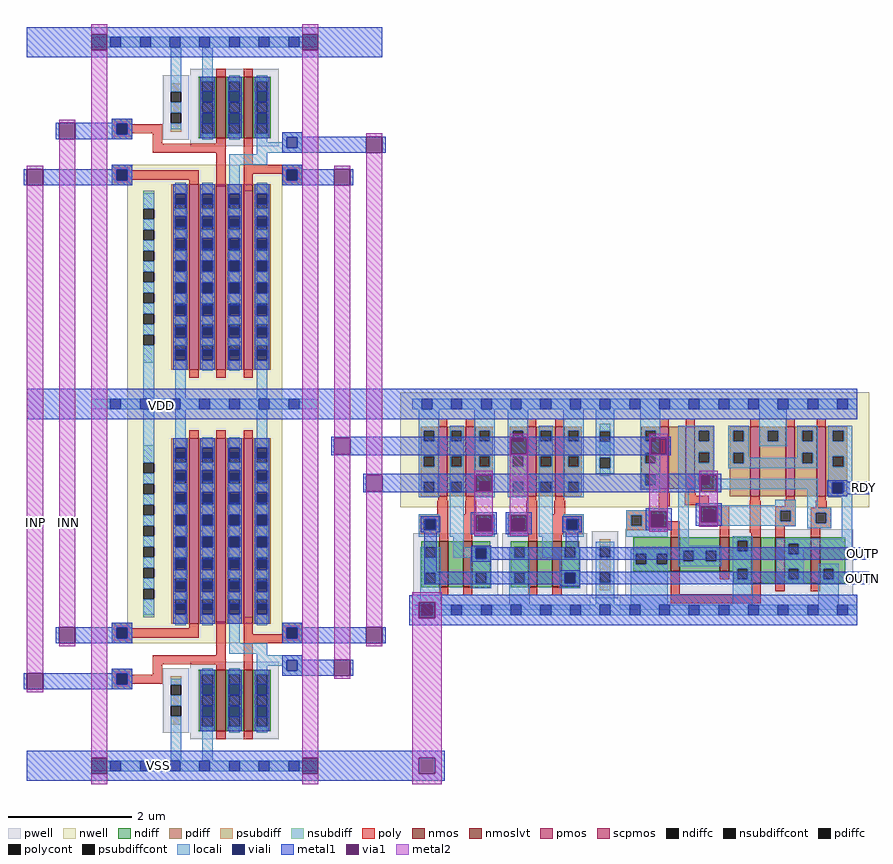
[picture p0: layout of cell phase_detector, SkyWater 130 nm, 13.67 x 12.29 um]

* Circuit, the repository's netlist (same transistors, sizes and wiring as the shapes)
* NGSPICE file created from phase_detector.ext - technology: sky130A

.subckt sky130_fd_sc_hs__nand2_1 A B VGND VNB VPB VPWR Y
X0 a_117_74# B VGND VNB sky130_fd_pr__nfet_01v8_lvt ad=0.0888 pd=0.98 as=0.2109 ps=2.05 w=0.74 l=0.15
X1 VPWR A Y VPB sky130_fd_pr__pfet_01v8 ad=0.3192 pd=2.81 as=0.168 ps=1.42 w=1.12 l=0.15
X2 Y A a_117_74# VNB sky130_fd_pr__nfet_01v8_lvt ad=0.2109 pd=2.05 as=0.0888 ps=0.98 w=0.74 l=0.15
X3 Y B VPWR VPB sky130_fd_pr__pfet_01v8 ad=0.168 pd=1.42 as=0.3192 ps=2.81 w=1.12 l=0.15
.ends

.subckt sky130_fd_sc_hs__xor2_1 A B VGND VNB VPB VPWR X
X0 X B a_455_87# VNB sky130_fd_pr__nfet_01v8_lvt ad=0.1554 pd=1.16 as=0.0888 ps=0.98 w=0.74 l=0.15
X1 X a_194_125# a_355_368# VPB sky130_fd_pr__pfet_01v8 ad=0.3864 pd=2.93 as=0.196 ps=1.47 w=1.12 l=0.15
X2 a_194_125# B a_158_392# VPB sky130_fd_pr__pfet_01v8 ad=0.295 pd=2.59 as=0.135 ps=1.27 w=1 l=0.15
X3 VPWR A a_355_368# VPB sky130_fd_pr__pfet_01v8 ad=0.2352 pd=1.54 as=0.3752 ps=2.91 w=1.12 l=0.15
X4 a_158_392# A VPWR VPB sky130_fd_pr__pfet_01v8 ad=0.135 pd=1.27 as=0.295 ps=2.59 w=1 l=0.15
X5 a_355_368# B VPWR VPB sky130_fd_pr__pfet_01v8 ad=0.196 pd=1.47 as=0.2352 ps=1.54 w=1.12 l=0.15
X6 a_194_125# A VGND VNB sky130_fd_pr__nfet_01v8_lvt ad=0.17738 pd=1.195 as=0.33275 ps=2.31 w=0.55 l=0.15
X7 a_455_87# A VGND VNB sky130_fd_pr__nfet_01v8_lvt ad=0.0888 pd=0.98 as=0.12607 ps=1.1 w=0.74 l=0.15
X8 VGND B a_194_125# VNB sky130_fd_pr__nfet_01v8_lvt ad=0.12607 pd=1.1 as=0.17738 ps=1.195 w=0.55 l=0.15
X9 VGND a_194_125# X VNB sky130_fd_pr__nfet_01v8_lvt ad=0.2997 pd=2.29 as=0.1554 ps=1.16 w=0.74 l=0.15
.ends

.subckt pd_out A B RDY OUTP OUTN VDD VSS
Xx1 B OUTN VSS VSS VDD VDD OUTP sky130_fd_sc_hs__nand2_1
Xx2 OUTP A VSS VSS VDD VDD OUTN sky130_fd_sc_hs__nand2_1
Xx3 A B VSS VSS VDD VDD RDY sky130_fd_sc_hs__xor2_1
.ends

.subckt sky130_fd_pr__pfet_01v8_5EUKDE a_n73_n300# w_n109_n362# a_15_n300# a_n15_n326#
X0 a_15_n300# a_n15_n326# a_n73_n300# w_n109_n362# sky130_fd_pr__pfet_01v8 ad=0.87 pd=6.58 as=0.87 ps=6.58 w=3 l=0.15
.ends

.subckt sky130_fd_pr__nfet_01v8_QQ7V57 a_n73_n100# a_15_n100# a_n15_n126# VSUBS
X0 a_15_n100# a_n15_n126# a_n73_n100# VSUBS sky130_fd_pr__nfet_01v8 ad=0.29 pd=2.58 as=0.29 ps=2.58 w=1 l=0.15
.ends

.subckt pd_in_half OUT VDD VSS INB IN OUTB
Xsky130_fd_pr__pfet_01v8_5EUKDE_0 OUT VDD VDD OUTB sky130_fd_pr__pfet_01v8_5EUKDE
Xsky130_fd_pr__pfet_01v8_5EUKDE_1 sky130_fd_pr__pfet_01v8_5EUKDE_2/a_15_n300# VDD
+ OUT IN sky130_fd_pr__pfet_01v8_5EUKDE
Xsky130_fd_pr__pfet_01v8_5EUKDE_2 VDD VDD sky130_fd_pr__pfet_01v8_5EUKDE_2/a_15_n300#
+ INB sky130_fd_pr__pfet_01v8_5EUKDE
Xsky130_fd_pr__nfet_01v8_QQ7V57_0 VSS sky130_fd_pr__nfet_01v8_QQ7V57_0/a_15_n100#
+ IN VSS sky130_fd_pr__nfet_01v8_QQ7V57
Xsky130_fd_pr__nfet_01v8_QQ7V57_1 sky130_fd_pr__nfet_01v8_QQ7V57_0/a_15_n100# OUT
+ OUTB VSS sky130_fd_pr__nfet_01v8_QQ7V57
.ends

.subckt pd_in INP INN VDD A B VSS
Xpd_in_half_0 B VDD VSS INP INN A pd_in_half
Xpd_in_half_1 A VDD VSS INN INP B pd_in_half
.ends

.subckt phase_detector VDD VSS INP INN RDY OUTP OUTN
Xpd_out_0 pd_in_0/A pd_in_0/B RDY OUTP OUTN VDD VSS pd_out
Xpd_in_0 INP INN VDD pd_in_0/A pd_in_0/B VSS pd_in
.ends

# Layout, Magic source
magic
tech sky130A
magscale 1 2
<< metal1 >>
rect -18 1178 2668 1276
rect 966 1117 1260 1121
rect 966 1065 976 1117
rect 1028 1065 1260 1117
rect 966 1061 1260 1065
rect 1070 997 1264 1001
rect 1070 945 1080 997
rect 1132 945 1264 997
rect 1070 941 1264 945
rect 2623 935 2706 975
rect 1471 723 2706 763
rect 1759 644 2706 684
rect 1218 586 1334 608
rect 1218 534 1250 586
rect 1302 534 1334 586
rect 1218 512 1334 534
rect -18 83 1334 106
rect -18 31 1250 83
rect 1302 31 1334 83
rect -18 8 1334 31
<< via1 >>
rect 976 1065 1028 1117
rect 1080 945 1132 997
rect 1250 534 1302 586
rect 1250 31 1302 83
<< metal2 >>
rect -18 356 34 1935
rect 86 505 138 2084
rect 976 1117 1028 1131
rect 976 1051 1028 1065
rect 1080 997 1132 1011
rect 1080 931 1132 945
rect 1228 586 1324 618
rect 1228 534 1250 586
rect 1302 534 1324 586
rect 1228 83 1324 534
rect 1228 31 1250 83
rect 1302 31 1324 83
rect 1228 -2 1324 31
use pd_in  pd_in_0
transform 1 0 590 0 1 1212
box -618 -1214 552 1244
use pd_out  pd_out_0
transform 1 0 1190 0 1 610
box 0 -98 1516 666
<< labels >>
flabel metal1 s 401 1208 431 1238 0 FreeSans 500 0 0 0 VDD
port 1 nsew
flabel metal1 s 392 43 422 73 0 FreeSans 500 0 0 0 VSS
port 2 nsew
flabel metal2 s -5 829 25 859 0 FreeSans 500 0 0 0 INP
port 3 nsew
flabel metal2 s 100 829 130 859 0 FreeSans 500 0 0 0 INN
port 4 nsew
flabel metal1 s 2672 941 2702 971 0 FreeSans 500 0 0 0 RDY
port 5 nsew
flabel metal1 s 2669 730 2699 760 0 FreeSans 500 0 0 0 OUTP
port 6 nsew
flabel metal1 s 2670 648 2700 678 0 FreeSans 500 0 0 0 OUTN
port 7 nsew
<< end >>

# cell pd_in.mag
magic
tech sky130A
magscale 1 2
<< metal1 >>
rect -608 1211 542 1234
rect -608 1159 -400 1211
rect -348 1159 282 1211
rect 334 1159 542 1211
rect -608 1136 542 1159
rect -514 872 -504 924
rect -452 872 -317 924
rect 283 828 490 880
rect 542 828 552 880
rect -618 723 -608 775
rect -556 723 -317 775
rect 283 723 386 775
rect 438 723 448 775
rect -608 -34 542 64
rect -514 -759 -504 -707
rect -452 -759 -317 -707
rect 283 -759 490 -707
rect 542 -759 552 -707
rect -618 -908 -608 -856
rect -556 -908 -318 -856
rect 283 -864 386 -812
rect 438 -864 448 -812
rect -608 -1129 542 -1106
rect -608 -1181 -400 -1129
rect -348 -1181 282 -1129
rect 334 -1181 542 -1129
rect -608 -1204 542 -1181
<< via1 >>
rect -400 1159 -348 1211
rect 282 1159 334 1211
rect -504 872 -452 924
rect 490 828 542 880
rect -608 723 -556 775
rect 386 723 438 775
rect -504 -759 -452 -707
rect 490 -759 542 -707
rect -608 -908 -556 -856
rect 386 -864 438 -812
rect -400 -1181 -348 -1129
rect 282 -1181 334 -1129
<< metal2 >>
rect -400 1211 -348 1244
rect -504 924 -452 934
rect -608 775 -556 785
rect -608 -856 -556 723
rect -504 -707 -452 872
rect -504 -769 -452 -759
rect -608 -918 -556 -908
rect -400 -1129 -348 1159
rect -400 -1214 -348 -1181
rect 282 1211 334 1244
rect 282 -1129 334 1159
rect 490 880 542 890
rect 386 775 438 785
rect 386 -812 438 723
rect 490 -707 542 828
rect 490 -769 542 -759
rect 386 -874 438 -864
rect 282 -1214 334 -1181
use pd_in_half  pd_in_half_0
transform 1 0 -496 0 -1 793
box 96 -441 830 827
use pd_in_half  pd_in_half_1
transform 1 0 -496 0 1 -763
box 96 -441 830 827
<< labels >>
flabel metal2 s -596 -434 -566 -404 0 FreeSans 500 0 0 0 INP
port 1 nsew
flabel metal2 s -492 -509 -462 -479 0 FreeSans 500 0 0 0 INN
port 2 nsew
flabel metal1 s -2 0 28 30 0 FreeSans 500 0 0 0 VDD
port 3 nsew
flabel metal1 s -30 -1169 0 -1139 0 FreeSans 500 0 0 0 VSS
port 4 nsew
flabel metal2 s 395 409 425 439 0 FreeSans 500 0 0 0 A
port 5 nsew
flabel metal2 s 498 410 528 440 0 FreeSans 500 0 0 0 B
port 6 nsew
<< end >>

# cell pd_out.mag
magic
tech sky130A
magscale 1 2
<< locali >>
rect 1393 362 1433 365
rect 1393 328 1396 362
rect 1430 328 1433 362
rect 1393 325 1433 328
rect 967 277 1027 290
rect 805 261 865 274
rect 239 248 299 261
rect 77 245 117 248
rect 77 211 80 245
rect 114 211 117 245
rect 77 208 117 211
rect 239 214 252 248
rect 286 214 299 248
rect 239 201 299 214
rect 353 248 413 261
rect 353 214 366 248
rect 400 214 413 248
rect 353 201 413 214
rect 535 245 575 248
rect 535 211 538 245
rect 572 211 575 245
rect 805 227 818 261
rect 852 227 865 261
rect 967 243 980 277
rect 1014 243 1027 277
rect 967 230 1027 243
rect 805 214 865 227
rect 535 208 575 211
rect 241 150 281 153
rect 241 116 244 150
rect 278 116 281 150
rect 241 113 281 116
rect 529 71 569 74
rect 529 37 532 71
rect 566 37 569 71
rect 529 34 569 37
<< viali >>
rect 1396 328 1430 362
rect 80 211 114 245
rect 252 214 286 248
rect 366 214 400 248
rect 538 211 572 245
rect 818 227 852 261
rect 980 243 1014 277
rect 244 116 278 150
rect 532 37 566 71
<< metal1 >>
rect 38 568 1478 666
rect 0 507 875 511
rect 0 455 357 507
rect 409 455 809 507
rect 861 455 875 507
rect 0 451 875 455
rect 0 387 1037 391
rect 0 335 243 387
rect 295 335 971 387
rect 1023 335 1037 387
rect 0 331 1037 335
rect 1381 365 1445 371
rect 1381 362 1516 365
rect 1381 328 1396 362
rect 1430 328 1516 362
rect 1381 325 1516 328
rect 1381 319 1445 325
rect 955 286 1039 296
rect 793 270 877 280
rect 227 257 311 267
rect 65 245 129 254
rect 65 211 80 245
rect 114 211 129 245
rect 65 202 129 211
rect 227 205 243 257
rect 295 205 311 257
rect 77 74 117 202
rect 227 195 311 205
rect 341 257 425 267
rect 341 205 357 257
rect 409 205 425 257
rect 341 195 425 205
rect 523 245 587 254
rect 523 211 538 245
rect 572 211 587 245
rect 523 202 587 211
rect 793 218 809 270
rect 861 218 877 270
rect 955 234 971 286
rect 1023 234 1039 286
rect 955 224 1039 234
rect 793 208 877 218
rect 229 153 293 159
rect 535 153 575 202
rect 229 150 1516 153
rect 229 116 244 150
rect 278 116 1516 150
rect 229 113 1516 116
rect 229 107 293 113
rect 517 74 581 80
rect 77 71 1516 74
rect 77 37 532 71
rect 566 37 1516 71
rect 77 34 1516 37
rect 517 28 581 34
rect 38 -98 1478 0
<< via1 >>
rect 357 455 409 507
rect 809 455 861 507
rect 243 335 295 387
rect 971 335 1023 387
rect 243 248 295 257
rect 243 214 252 248
rect 252 214 286 248
rect 286 214 295 248
rect 243 205 295 214
rect 357 248 409 257
rect 357 214 366 248
rect 366 214 400 248
rect 400 214 409 248
rect 357 205 409 214
rect 809 261 861 270
rect 809 227 818 261
rect 818 227 852 261
rect 852 227 861 261
rect 809 218 861 227
rect 971 277 1023 286
rect 971 243 980 277
rect 980 243 1014 277
rect 1014 243 1023 277
rect 971 234 1023 243
<< metal2 >>
rect 353 507 413 521
rect 353 455 357 507
rect 409 455 413 507
rect 239 387 299 401
rect 239 335 243 387
rect 295 335 299 387
rect 239 257 299 335
rect 239 205 243 257
rect 295 205 299 257
rect 239 191 299 205
rect 353 257 413 455
rect 353 205 357 257
rect 409 205 413 257
rect 353 191 413 205
rect 805 507 865 521
rect 805 455 809 507
rect 861 455 865 507
rect 805 270 865 455
rect 805 218 809 270
rect 861 218 865 270
rect 967 387 1027 401
rect 967 335 971 387
rect 1023 335 1027 387
rect 967 286 1027 335
rect 967 234 971 286
rect 1023 234 1027 286
rect 967 220 1027 234
rect 805 204 865 218
use sky130_fd_sc_hs__tapvpwrvgnd_1  sky130_fd_sc_hs__tapvpwrvgnd_1_0
transform 1 0 614 0 1 -49
box -38 -49 134 715
use sky130_fd_sc_hs__nand2_1  x1
transform 1 0 38 0 1 -49
box -38 -49 326 715
use sky130_fd_sc_hs__nand2_1  x2
transform 1 0 326 0 1 -49
box -38 -49 326 715
use sky130_fd_sc_hs__xor2_1  x3
transform 1 0 710 0 1 -49
box -38 -49 806 715
<< labels >>
flabel metal1 s 0 451 30 511 0 FreeSans 500 0 0 0 A
port 1 nsew
flabel metal1 s 0 331 30 391 0 FreeSans 500 0 0 0 B
port 2 nsew
flabel metal1 s 91 568 189 666 0 FreeSans 500 0 0 0 VDD
port 3 nsew
flabel metal1 s 95 -98 193 0 0 FreeSans 500 0 0 0 VSS
port 4 nsew
flabel metal1 s 1496 325 1516 365 0 FreeSans 500 0 0 0 RDY
port 5 nsew
flabel metal1 s 1476 113 1516 153 0 FreeSans 500 0 0 0 OUTP
port 6 nsew
flabel metal1 s 1476 34 1516 74 0 FreeSans 500 0 0 0 OUTN
port 7 nsew
<< end >>

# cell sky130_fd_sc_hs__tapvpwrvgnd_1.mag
magic
tech sky130A
magscale 1 2
<< nwell >>
rect -38 332 134 704
<< pwell >>
rect 5 38 91 255
<< psubdiff >>
rect 31 205 65 229
rect 31 122 65 171
rect 31 64 65 88
<< nsubdiff >>
rect 31 578 65 602
rect 31 492 65 544
rect 31 434 65 458
<< psubdiffcont >>
rect 31 171 65 205
rect 31 88 65 122
<< nsubdiffcont >>
rect 31 544 65 578
rect 31 458 65 492
<< locali >>
rect 0 649 31 683
rect 65 649 96 683
rect 18 578 78 649
rect 18 544 31 578
rect 65 544 78 578
rect 18 492 78 544
rect 18 458 31 492
rect 65 458 78 492
rect 18 441 78 458
rect 18 205 78 221
rect 18 171 31 205
rect 65 171 78 205
rect 18 122 78 171
rect 18 88 31 122
rect 65 88 78 122
rect 18 17 78 88
rect 0 -17 31 17
rect 65 -17 96 17
<< viali >>
rect 31 649 65 683
rect 31 -17 65 17
<< metal1 >>
rect 0 683 96 715
rect 0 649 31 683
rect 65 649 96 683
rect 0 617 96 649
rect 0 17 96 49
rect 0 -17 31 17
rect 65 -17 96 17
rect 0 -49 96 -17
<< labels >>
rlabel comment s 0 0 0 0 4 tapvpwrvgnd_1
flabel metal1 s 0 617 96 666 0 FreeSans 200 0 0 0 VPWR
port 1 nsew
flabel metal1 s 0 0 96 49 0 FreeSans 200 0 0 0 VGND
port 2 nsew
<< properties >>
string FIXED_BBOX 0 0 96 666
<< end >>

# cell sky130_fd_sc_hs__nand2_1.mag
magic
tech sky130A
magscale 1 2
<< nwell >>
rect -38 332 326 704
<< pwell >>
rect 4 49 278 248
rect 0 0 288 49
<< scpmos >>
rect 84 368 114 592
rect 174 368 204 592
<< nmoslvt >>
rect 87 74 117 222
rect 165 74 195 222
<< ndiff >>
rect 30 202 87 222
rect 30 168 42 202
rect 76 168 87 202
rect 30 120 87 168
rect 30 86 42 120
rect 76 86 87 120
rect 30 74 87 86
rect 117 74 165 222
rect 195 202 252 222
rect 195 168 206 202
rect 240 168 252 202
rect 195 120 252 168
rect 195 86 206 120
rect 240 86 252 120
rect 195 74 252 86
<< pdiff >>
rect 27 580 84 592
rect 27 546 37 580
rect 71 546 84 580
rect 27 497 84 546
rect 27 463 37 497
rect 71 463 84 497
rect 27 414 84 463
rect 27 380 37 414
rect 71 380 84 414
rect 27 368 84 380
rect 114 580 174 592
rect 114 546 127 580
rect 161 546 174 580
rect 114 497 174 546
rect 114 463 127 497
rect 161 463 174 497
rect 114 414 174 463
rect 114 380 127 414
rect 161 380 174 414
rect 114 368 174 380
rect 204 580 261 592
rect 204 546 217 580
rect 251 546 261 580
rect 204 497 261 546
rect 204 463 217 497
rect 251 463 261 497
rect 204 414 261 463
rect 204 380 217 414
rect 251 380 261 414
rect 204 368 261 380
<< ndiffc >>
rect 42 168 76 202
rect 42 86 76 120
rect 206 168 240 202
rect 206 86 240 120
<< pdiffc >>
rect 37 546 71 580
rect 37 463 71 497
rect 37 380 71 414
rect 127 546 161 580
rect 127 463 161 497
rect 127 380 161 414
rect 217 546 251 580
rect 217 463 251 497
rect 217 380 251 414
<< poly >>
rect 84 592 114 618
rect 174 592 204 618
rect 84 353 114 368
rect 174 353 204 368
rect 81 310 117 353
rect 171 310 207 353
rect 21 294 117 310
rect 21 260 37 294
rect 71 260 117 294
rect 21 244 117 260
rect 87 222 117 244
rect 165 294 267 310
rect 165 260 217 294
rect 251 260 267 294
rect 165 244 267 260
rect 165 222 195 244
rect 87 48 117 74
rect 165 48 195 74
<< polycont >>
rect 37 260 71 294
rect 217 260 251 294
<< locali >>
rect 0 649 31 683
rect 65 649 127 683
rect 161 649 223 683
rect 257 649 288 683
rect 21 580 87 649
rect 21 546 37 580
rect 71 546 87 580
rect 21 497 87 546
rect 21 463 37 497
rect 71 463 87 497
rect 21 414 87 463
rect 21 380 37 414
rect 71 380 87 414
rect 21 364 87 380
rect 121 580 167 596
rect 121 546 127 580
rect 161 546 167 580
rect 121 497 167 546
rect 121 463 127 497
rect 161 463 167 497
rect 121 414 167 463
rect 121 380 127 414
rect 161 380 167 414
rect 21 294 87 310
rect 21 260 37 294
rect 71 260 87 294
rect 21 236 87 260
rect 121 236 167 380
rect 201 580 267 649
rect 201 546 217 580
rect 251 546 267 580
rect 201 497 267 546
rect 201 463 217 497
rect 251 463 267 497
rect 201 414 267 463
rect 201 380 217 414
rect 251 380 267 414
rect 201 364 267 380
rect 201 294 267 310
rect 201 260 217 294
rect 251 260 267 294
rect 201 236 267 260
rect 133 202 167 236
rect 26 168 42 202
rect 76 168 92 202
rect 133 168 206 202
rect 240 168 256 202
rect 26 120 92 168
rect 26 86 42 120
rect 76 86 92 120
rect 26 17 92 86
rect 190 120 256 168
rect 190 86 206 120
rect 240 86 256 120
rect 190 70 256 86
rect 0 -17 31 17
rect 65 -17 127 17
rect 161 -17 223 17
rect 257 -17 288 17
<< viali >>
rect 31 649 65 683
rect 127 649 161 683
rect 223 649 257 683
rect 31 -17 65 17
rect 127 -17 161 17
rect 223 -17 257 17
<< metal1 >>
rect 0 683 288 715
rect 0 649 31 683
rect 65 649 127 683
rect 161 649 223 683
rect 257 649 288 683
rect 0 617 288 649
rect 0 17 288 49
rect 0 -17 31 17
rect 65 -17 127 17
rect 161 -17 223 17
rect 257 -17 288 17
rect 0 -49 288 -17
<< labels >>
rlabel comment s 0 0 0 0 4 nand2_1
flabel pwell s 0 0 288 49 0 FreeSans 200 0 0 0 VNB
port 1 nsew
flabel nwell s 0 617 288 666 0 FreeSans 200 0 0 0 VPB
port 2 nsew
flabel metal1 s 0 617 288 666 0 FreeSans 340 0 0 0 VPWR
port 3 nsew
flabel metal1 s 0 0 288 49 0 FreeSans 340 0 0 0 VGND
port 4 nsew
flabel locali s 31 242 65 276 0 FreeSans 340 0 0 0 B
port 6 nsew
flabel locali s 127 242 161 276 0 FreeSans 340 0 0 0 Y
port 7 nsew
flabel locali s 127 316 161 350 0 FreeSans 340 0 0 0 Y
port 7 nsew
flabel locali s 127 390 161 424 0 FreeSans 340 0 0 0 Y
port 7 nsew
flabel locali s 127 464 161 498 0 FreeSans 340 0 0 0 Y
port 7 nsew
flabel locali s 127 538 161 572 0 FreeSans 340 0 0 0 Y
port 7 nsew
flabel locali s 223 242 257 276 0 FreeSans 340 0 0 0 A
port 8 nsew
<< properties >>
string FIXED_BBOX 0 0 288 666
<< end >>

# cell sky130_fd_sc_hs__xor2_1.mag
magic
tech sky130A
magscale 1 2
<< nwell >>
rect -38 332 806 704
<< pwell >>
rect 17 49 754 261
rect 0 0 768 49
<< scpmos >>
rect 128 392 158 592
rect 212 392 242 592
rect 422 368 452 592
rect 536 368 566 592
rect 636 368 666 592
<< nmoslvt >>
rect 164 125 194 235
rect 323 125 353 235
rect 425 87 455 235
rect 503 87 533 235
rect 617 87 647 235
<< ndiff >>
rect 43 182 164 235
rect 43 148 51 182
rect 85 148 119 182
rect 153 148 164 182
rect 43 125 164 148
rect 194 192 323 235
rect 194 158 205 192
rect 239 158 278 192
rect 312 158 323 192
rect 194 125 323 158
rect 353 223 425 235
rect 353 189 380 223
rect 414 189 425 223
rect 353 133 425 189
rect 353 125 380 133
rect 368 99 380 125
rect 414 99 425 133
rect 368 87 425 99
rect 455 87 503 235
rect 533 214 617 235
rect 533 180 544 214
rect 578 180 617 214
rect 533 133 617 180
rect 533 99 544 133
rect 578 99 617 133
rect 533 87 617 99
rect 647 133 728 235
rect 647 99 658 133
rect 692 99 728 133
rect 647 87 728 99
<< pdiff >>
rect 69 580 128 592
rect 69 546 81 580
rect 115 546 128 580
rect 69 509 128 546
rect 69 475 81 509
rect 115 475 128 509
rect 69 438 128 475
rect 69 404 81 438
rect 115 404 128 438
rect 69 392 128 404
rect 158 392 212 592
rect 242 580 301 592
rect 242 546 255 580
rect 289 546 301 580
rect 242 510 301 546
rect 242 476 255 510
rect 289 476 301 510
rect 242 440 301 476
rect 242 406 255 440
rect 289 406 301 440
rect 242 392 301 406
rect 355 580 422 592
rect 355 546 367 580
rect 401 546 422 580
rect 355 508 422 546
rect 355 474 367 508
rect 401 474 422 508
rect 355 368 422 474
rect 452 580 536 592
rect 452 546 478 580
rect 512 546 536 580
rect 452 368 536 546
rect 566 580 636 592
rect 566 546 589 580
rect 623 546 636 580
rect 566 508 636 546
rect 566 474 589 508
rect 623 474 636 508
rect 566 368 636 474
rect 666 580 735 592
rect 666 546 689 580
rect 723 546 735 580
rect 666 497 735 546
rect 666 463 689 497
rect 723 463 735 497
rect 666 414 735 463
rect 666 380 689 414
rect 723 380 735 414
rect 666 368 735 380
<< ndiffc >>
rect 51 148 85 182
rect 119 148 153 182
rect 205 158 239 192
rect 278 158 312 192
rect 380 189 414 223
rect 380 99 414 133
rect 544 180 578 214
rect 544 99 578 133
rect 658 99 692 133
<< pdiffc >>
rect 81 546 115 580
rect 81 475 115 509
rect 81 404 115 438
rect 255 546 289 580
rect 255 476 289 510
rect 255 406 289 440
rect 367 546 401 580
rect 367 474 401 508
rect 478 546 512 580
rect 589 546 623 580
rect 589 474 623 508
rect 689 546 723 580
rect 689 463 723 497
rect 689 380 723 414
<< poly >>
rect 128 592 158 618
rect 212 592 242 618
rect 422 592 452 618
rect 536 592 566 618
rect 636 592 666 618
rect 128 377 158 392
rect 212 377 242 392
rect 125 335 161 377
rect 209 369 245 377
rect 209 339 287 369
rect 422 353 452 368
rect 536 353 566 368
rect 636 353 666 368
rect 125 323 155 335
rect 21 307 155 323
rect 21 273 37 307
rect 71 273 105 307
rect 139 287 155 307
rect 257 323 353 339
rect 257 289 273 323
rect 307 289 353 323
rect 139 273 194 287
rect 257 273 353 289
rect 21 257 194 273
rect 164 235 194 257
rect 323 235 353 273
rect 419 250 455 353
rect 533 336 569 353
rect 425 235 455 250
rect 503 320 569 336
rect 633 330 669 353
rect 503 286 519 320
rect 553 286 569 320
rect 503 270 569 286
rect 617 314 683 330
rect 617 280 633 314
rect 667 280 683 314
rect 503 235 533 270
rect 617 264 683 280
rect 617 235 647 264
rect 164 51 194 125
rect 323 99 353 125
rect 425 51 455 87
rect 503 61 533 87
rect 617 61 647 87
rect 164 21 455 51
<< polycont >>
rect 37 273 71 307
rect 105 273 139 307
rect 273 289 307 323
rect 519 286 553 320
rect 633 280 667 314
<< locali >>
rect 0 649 31 683
rect 65 649 127 683
rect 161 649 223 683
rect 257 649 319 683
rect 353 649 415 683
rect 449 649 511 683
rect 545 649 607 683
rect 641 649 703 683
rect 737 649 768 683
rect 65 580 131 649
rect 65 546 81 580
rect 115 546 131 580
rect 65 509 131 546
rect 65 475 81 509
rect 115 475 131 509
rect 65 438 131 475
rect 65 404 81 438
rect 115 404 131 438
rect 65 388 131 404
rect 189 580 305 596
rect 189 546 255 580
rect 289 546 305 580
rect 189 510 305 546
rect 189 476 255 510
rect 289 476 305 510
rect 189 440 305 476
rect 351 580 417 596
rect 351 546 367 580
rect 401 546 417 580
rect 351 508 417 546
rect 451 580 539 649
rect 451 546 478 580
rect 512 546 539 580
rect 451 530 539 546
rect 573 580 639 596
rect 573 546 589 580
rect 623 546 639 580
rect 351 474 367 508
rect 401 492 417 508
rect 573 508 639 546
rect 573 492 589 508
rect 401 474 589 492
rect 623 474 639 508
rect 351 458 639 474
rect 673 580 751 596
rect 673 546 689 580
rect 723 546 751 580
rect 673 497 751 546
rect 673 463 689 497
rect 723 463 751 497
rect 189 406 255 440
rect 289 424 305 440
rect 289 406 639 424
rect 189 390 639 406
rect 21 307 155 323
rect 21 273 37 307
rect 71 273 105 307
rect 139 273 155 307
rect 21 236 155 273
rect 189 208 223 390
rect 503 339 569 356
rect 257 323 569 339
rect 257 289 273 323
rect 307 320 569 323
rect 307 289 519 320
rect 257 286 519 289
rect 553 286 569 320
rect 257 273 569 286
rect 503 270 569 273
rect 605 330 639 390
rect 673 414 751 463
rect 673 380 689 414
rect 723 380 751 414
rect 673 364 751 380
rect 605 314 683 330
rect 605 280 633 314
rect 667 280 683 314
rect 605 264 683 280
rect 364 223 430 239
rect 717 230 751 364
rect 35 182 155 198
rect 35 148 51 182
rect 85 148 119 182
rect 153 148 155 182
rect 35 17 155 148
rect 189 192 328 208
rect 189 158 205 192
rect 239 158 278 192
rect 312 158 328 192
rect 189 142 328 158
rect 364 189 380 223
rect 414 189 430 223
rect 364 133 430 189
rect 364 99 380 133
rect 414 99 430 133
rect 364 17 430 99
rect 505 214 751 230
rect 505 180 544 214
rect 578 196 751 214
rect 578 180 594 196
rect 505 133 594 180
rect 505 99 544 133
rect 578 99 594 133
rect 505 83 594 99
rect 642 133 708 149
rect 642 99 658 133
rect 692 99 708 133
rect 642 17 708 99
rect 0 -17 31 17
rect 65 -17 127 17
rect 161 -17 223 17
rect 257 -17 319 17
rect 353 -17 415 17
rect 449 -17 511 17
rect 545 -17 607 17
rect 641 -17 703 17
rect 737 -17 768 17
<< viali >>
rect 31 649 65 683
rect 127 649 161 683
rect 223 649 257 683
rect 319 649 353 683
rect 415 649 449 683
rect 511 649 545 683
rect 607 649 641 683
rect 703 649 737 683
rect 31 -17 65 17
rect 127 -17 161 17
rect 223 -17 257 17
rect 319 -17 353 17
rect 415 -17 449 17
rect 511 -17 545 17
rect 607 -17 641 17
rect 703 -17 737 17
<< metal1 >>
rect 0 683 768 715
rect 0 649 31 683
rect 65 649 127 683
rect 161 649 223 683
rect 257 649 319 683
rect 353 649 415 683
rect 449 649 511 683
rect 545 649 607 683
rect 641 649 703 683
rect 737 649 768 683
rect 0 617 768 649
rect 0 17 768 49
rect 0 -17 31 17
rect 65 -17 127 17
rect 161 -17 223 17
rect 257 -17 319 17
rect 353 -17 415 17
rect 449 -17 511 17
rect 545 -17 607 17
rect 641 -17 703 17
rect 737 -17 768 17
rect 0 -49 768 -17
<< labels >>
rlabel comment s 0 0 0 0 4 xor2_1
flabel pwell s 0 0 768 49 0 FreeSans 200 0 0 0 VNB
port 1 nsew
flabel nwell s 0 617 768 666 0 FreeSans 200 0 0 0 VPB
port 2 nsew
flabel metal1 s 0 617 768 666 0 FreeSans 340 0 0 0 VPWR
port 3 nsew
flabel metal1 s 0 0 768 49 0 FreeSans 340 0 0 0 VGND
port 4 nsew
flabel locali s 31 242 65 276 0 FreeSans 340 0 0 0 A
port 6 nsew
flabel locali s 511 316 545 350 0 FreeSans 340 0 0 0 B
port 7 nsew
flabel locali s 511 94 545 128 0 FreeSans 340 0 0 0 X
port 8 nsew
flabel locali s 511 168 545 202 0 FreeSans 340 0 0 0 X
port 8 nsew
<< properties >>
string FIXED_BBOX 0 0 768 666
<< end >>

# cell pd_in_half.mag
magic
tech sky130A
magscale 1 2
<< nwell >>
rect 213 707 713 827
rect 213 5 319 707
<< pwell >>
rect 327 -285 413 -77
<< psubdiff >>
rect 353 -130 387 -103
rect 353 -198 387 -164
rect 353 -259 387 -232
<< nsubdiff >>
rect 265 588 299 645
rect 265 520 299 554
rect 265 452 299 486
rect 265 384 299 418
rect 265 316 299 350
rect 265 248 299 282
rect 265 180 299 214
rect 265 89 299 146
<< psubdiffcont >>
rect 353 -164 387 -130
rect 353 -232 387 -198
<< nsubdiffcont >>
rect 265 554 299 588
rect 265 486 299 520
rect 265 418 299 452
rect 265 350 299 384
rect 265 282 299 316
rect 265 214 299 248
rect 265 146 299 180
<< poly >>
rect 163 54 229 70
rect 163 20 179 54
rect 213 52 229 54
rect 413 52 443 58
rect 213 22 443 52
rect 213 20 229 22
rect 163 4 229 20
rect 501 -34 531 76
rect 295 -64 531 -34
rect 589 34 619 90
rect 713 54 779 70
rect 713 34 729 54
rect 589 20 729 34
rect 763 20 779 54
rect 589 4 779 20
rect 589 -55 619 4
rect 163 -95 229 -79
rect 163 -129 179 -95
rect 213 -97 229 -95
rect 295 -97 325 -64
rect 501 -77 531 -64
rect 213 -127 325 -97
rect 213 -129 229 -127
rect 163 -145 229 -129
<< polycont >>
rect 179 20 213 54
rect 729 20 763 54
rect 179 -129 213 -95
<< locali >>
rect 96 761 158 795
rect 192 761 254 795
rect 288 761 350 795
rect 384 761 446 795
rect 480 761 542 795
rect 576 761 638 795
rect 672 761 734 795
rect 768 761 830 795
rect 265 588 299 761
rect 367 636 401 761
rect 631 671 665 761
rect 265 520 299 554
rect 265 452 299 486
rect 265 384 299 418
rect 265 316 299 350
rect 265 248 299 282
rect 265 180 299 214
rect 265 97 299 146
rect 163 54 229 70
rect 163 20 179 54
rect 213 20 229 54
rect 163 4 229 20
rect 543 4 577 67
rect 713 54 779 70
rect 713 20 729 54
rect 763 20 779 54
rect 713 4 779 20
rect 543 -30 665 4
rect 631 -35 665 -30
rect 631 -51 779 -35
rect 631 -69 729 -51
rect 163 -95 229 -79
rect 631 -81 665 -69
rect 163 -129 179 -95
rect 213 -129 229 -95
rect 713 -85 729 -69
rect 763 -85 779 -51
rect 713 -101 779 -85
rect 163 -145 229 -129
rect 353 -130 387 -111
rect 353 -198 387 -164
rect 353 -375 387 -232
rect 455 -375 489 -285
rect 96 -409 158 -375
rect 192 -409 254 -375
rect 288 -409 350 -375
rect 384 -409 446 -375
rect 480 -409 542 -375
rect 576 -409 638 -375
rect 672 -409 734 -375
rect 768 -409 830 -375
<< viali >>
rect 158 761 192 795
rect 254 761 288 795
rect 350 761 384 795
rect 446 761 480 795
rect 542 761 576 795
rect 638 761 672 795
rect 734 761 768 795
rect 179 20 213 54
rect 729 20 763 54
rect 179 -129 213 -95
rect 729 -85 763 -51
rect 158 -409 192 -375
rect 254 -409 288 -375
rect 350 -409 384 -375
rect 446 -409 480 -375
rect 542 -409 576 -375
rect 638 -409 672 -375
rect 734 -409 768 -375
<< metal1 >>
rect 96 795 830 827
rect 96 761 158 795
rect 192 761 254 795
rect 288 761 350 795
rect 384 761 446 795
rect 480 761 542 795
rect 576 761 638 795
rect 672 761 734 795
rect 768 761 830 795
rect 96 729 830 761
rect 163 54 229 70
rect 163 20 179 54
rect 213 20 229 54
rect 163 4 229 20
rect 713 54 779 70
rect 713 20 729 54
rect 763 20 779 54
rect 713 4 779 20
rect 713 -51 779 -35
rect 163 -95 229 -79
rect 163 -129 179 -95
rect 213 -129 229 -95
rect 713 -85 729 -51
rect 763 -85 779 -51
rect 713 -101 779 -85
rect 163 -145 229 -129
rect 96 -375 830 -343
rect 96 -409 158 -375
rect 192 -409 254 -375
rect 288 -409 350 -375
rect 384 -409 446 -375
rect 480 -409 542 -375
rect 576 -409 638 -375
rect 672 -409 734 -375
rect 768 -409 830 -375
rect 96 -441 830 -409
use sky130_fd_pr__nfet_01v8_QQ7V57  sky130_fd_pr__nfet_01v8_QQ7V57_0
transform 1 0 516 0 1 -181
box -99 -126 99 126
use sky130_fd_pr__nfet_01v8_QQ7V57  sky130_fd_pr__nfet_01v8_QQ7V57_1
transform 1 0 604 0 1 -181
box -99 -126 99 126
use sky130_fd_pr__pfet_01v8_5EUKDE  sky130_fd_pr__pfet_01v8_5EUKDE_0
transform 1 0 604 0 1 367
box -109 -362 109 362
use sky130_fd_pr__pfet_01v8_5EUKDE  sky130_fd_pr__pfet_01v8_5EUKDE_1
transform 1 0 516 0 1 367
box -109 -362 109 362
use sky130_fd_pr__pfet_01v8_5EUKDE  sky130_fd_pr__pfet_01v8_5EUKDE_2
transform 1 0 428 0 1 367
box -109 -362 109 362
<< labels >>
flabel metal1 s 729 -85 763 -51 0 FreeSans 500 0 0 0 OUT
port 1 nsew
flabel metal1 s 96 729 158 827 0 FreeSans 500 0 0 0 VDD
port 2 nsew
flabel metal1 s 96 -441 158 -343 0 FreeSans 500 0 0 0 VSS
port 3 nsew
flabel metal1 s 179 20 213 54 0 FreeSans 500 0 0 0 INB
port 4 nsew
flabel metal1 s 179 -129 213 -95 0 FreeSans 500 0 0 0 IN
port 5 nsew
flabel metal1 s 729 20 763 54 0 FreeSans 500 0 0 0 OUTB
port 6 nsew
<< end >>

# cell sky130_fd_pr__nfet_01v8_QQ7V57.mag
magic
tech sky130A
magscale 1 2
<< pwell >>
rect -99 -126 99 126
<< nmos >>
rect -15 -100 15 100
<< ndiff >>
rect -73 85 -15 100
rect -73 51 -61 85
rect -27 51 -15 85
rect -73 17 -15 51
rect -73 -17 -61 17
rect -27 -17 -15 17
rect -73 -51 -15 -17
rect -73 -85 -61 -51
rect -27 -85 -15 -51
rect -73 -100 -15 -85
rect 15 85 73 100
rect 15 51 27 85
rect 61 51 73 85
rect 15 17 73 51
rect 15 -17 27 17
rect 61 -17 73 17
rect 15 -51 73 -17
rect 15 -85 27 -51
rect 61 -85 73 -51
rect 15 -100 73 -85
<< ndiffc >>
rect -61 51 -27 85
rect -61 -17 -27 17
rect -61 -85 -27 -51
rect 27 51 61 85
rect 27 -17 61 17
rect 27 -85 61 -51
<< poly >>
rect -15 100 15 126
rect -15 -126 15 -100
<< locali >>
rect -61 85 -27 104
rect -61 17 -27 19
rect -61 -19 -27 -17
rect -61 -104 -27 -85
rect 27 85 61 104
rect 27 17 61 19
rect 27 -19 61 -17
rect 27 -104 61 -85
<< viali >>
rect -61 51 -27 53
rect -61 19 -27 51
rect -61 -51 -27 -19
rect -61 -53 -27 -51
rect 27 51 61 53
rect 27 19 61 51
rect 27 -51 61 -19
rect 27 -53 61 -51
<< metal1 >>
rect -67 53 -21 100
rect -67 19 -61 53
rect -27 19 -21 53
rect -67 -19 -21 19
rect -67 -53 -61 -19
rect -27 -53 -21 -19
rect -67 -100 -21 -53
rect 21 53 67 100
rect 21 19 27 53
rect 61 19 67 53
rect 21 -19 67 19
rect 21 -53 27 -19
rect 61 -53 67 -19
rect 21 -100 67 -53
<< end >>

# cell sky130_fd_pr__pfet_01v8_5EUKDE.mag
magic
tech sky130A
magscale 1 2
<< nwell >>
rect -109 -362 109 362
<< pmos >>
rect -15 -300 15 300
<< pdiff >>
rect -73 255 -15 300
rect -73 221 -61 255
rect -27 221 -15 255
rect -73 187 -15 221
rect -73 153 -61 187
rect -27 153 -15 187
rect -73 119 -15 153
rect -73 85 -61 119
rect -27 85 -15 119
rect -73 51 -15 85
rect -73 17 -61 51
rect -27 17 -15 51
rect -73 -17 -15 17
rect -73 -51 -61 -17
rect -27 -51 -15 -17
rect -73 -85 -15 -51
rect -73 -119 -61 -85
rect -27 -119 -15 -85
rect -73 -153 -15 -119
rect -73 -187 -61 -153
rect -27 -187 -15 -153
rect -73 -221 -15 -187
rect -73 -255 -61 -221
rect -27 -255 -15 -221
rect -73 -300 -15 -255
rect 15 255 73 300
rect 15 221 27 255
rect 61 221 73 255
rect 15 187 73 221
rect 15 153 27 187
rect 61 153 73 187
rect 15 119 73 153
rect 15 85 27 119
rect 61 85 73 119
rect 15 51 73 85
rect 15 17 27 51
rect 61 17 73 51
rect 15 -17 73 17
rect 15 -51 27 -17
rect 61 -51 73 -17
rect 15 -85 73 -51
rect 15 -119 27 -85
rect 61 -119 73 -85
rect 15 -153 73 -119
rect 15 -187 27 -153
rect 61 -187 73 -153
rect 15 -221 73 -187
rect 15 -255 27 -221
rect 61 -255 73 -221
rect 15 -300 73 -255
<< pdiffc >>
rect -61 221 -27 255
rect -61 153 -27 187
rect -61 85 -27 119
rect -61 17 -27 51
rect -61 -51 -27 -17
rect -61 -119 -27 -85
rect -61 -187 -27 -153
rect -61 -255 -27 -221
rect 27 221 61 255
rect 27 153 61 187
rect 27 85 61 119
rect 27 17 61 51
rect 27 -51 61 -17
rect 27 -119 61 -85
rect 27 -187 61 -153
rect 27 -255 61 -221
<< poly >>
rect -15 300 15 326
rect -15 -326 15 -300
<< locali >>
rect -61 269 -27 304
rect -61 197 -27 221
rect -61 125 -27 153
rect -61 53 -27 85
rect -61 -17 -27 17
rect -61 -85 -27 -53
rect -61 -153 -27 -125
rect -61 -221 -27 -197
rect -61 -304 -27 -269
rect 27 269 61 304
rect 27 197 61 221
rect 27 125 61 153
rect 27 53 61 85
rect 27 -17 61 17
rect 27 -85 61 -53
rect 27 -153 61 -125
rect 27 -221 61 -197
rect 27 -304 61 -269
<< viali >>
rect -61 255 -27 269
rect -61 235 -27 255
rect -61 187 -27 197
rect -61 163 -27 187
rect -61 119 -27 125
rect -61 91 -27 119
rect -61 51 -27 53
rect -61 19 -27 51
rect -61 -51 -27 -19
rect -61 -53 -27 -51
rect -61 -119 -27 -91
rect -61 -125 -27 -119
rect -61 -187 -27 -163
rect -61 -197 -27 -187
rect -61 -255 -27 -235
rect -61 -269 -27 -255
rect 27 255 61 269
rect 27 235 61 255
rect 27 187 61 197
rect 27 163 61 187
rect 27 119 61 125
rect 27 91 61 119
rect 27 51 61 53
rect 27 19 61 51
rect 27 -51 61 -19
rect 27 -53 61 -51
rect 27 -119 61 -91
rect 27 -125 61 -119
rect 27 -187 61 -163
rect 27 -197 61 -187
rect 27 -255 61 -235
rect 27 -269 61 -255
<< metal1 >>
rect -67 269 -21 300
rect -67 235 -61 269
rect -27 235 -21 269
rect -67 197 -21 235
rect -67 163 -61 197
rect -27 163 -21 197
rect -67 125 -21 163
rect -67 91 -61 125
rect -27 91 -21 125
rect -67 53 -21 91
rect -67 19 -61 53
rect -27 19 -21 53
rect -67 -19 -21 19
rect -67 -53 -61 -19
rect -27 -53 -21 -19
rect -67 -91 -21 -53
rect -67 -125 -61 -91
rect -27 -125 -21 -91
rect -67 -163 -21 -125
rect -67 -197 -61 -163
rect -27 -197 -21 -163
rect -67 -235 -21 -197
rect -67 -269 -61 -235
rect -27 -269 -21 -235
rect -67 -300 -21 -269
rect 21 269 67 300
rect 21 235 27 269
rect 61 235 67 269
rect 21 197 67 235
rect 21 163 27 197
rect 61 163 67 197
rect 21 125 67 163
rect 21 91 27 125
rect 61 91 67 125
rect 21 53 67 91
rect 21 19 27 53
rect 61 19 67 53
rect 21 -19 67 19
rect 21 -53 27 -19
rect 61 -53 67 -19
rect 21 -91 67 -53
rect 21 -125 27 -91
rect 61 -125 67 -91
rect 21 -163 67 -125
rect 21 -197 27 -163
rect 61 -197 67 -163
rect 21 -235 67 -197
rect 21 -269 27 -235
rect 61 -269 67 -235
rect 21 -300 67 -269
<< end >>
